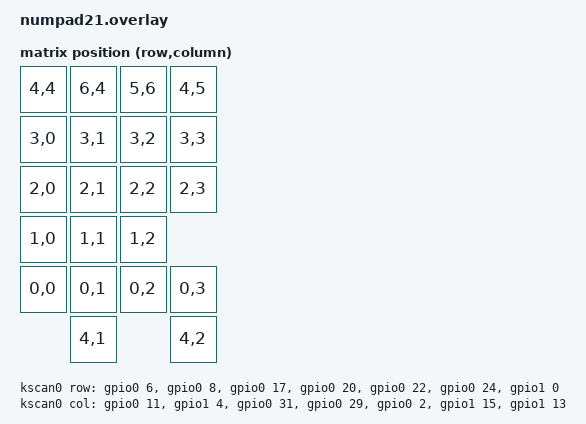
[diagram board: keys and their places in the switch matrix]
/*
 * Numpad 21 phim - K21C - Pro Micro nRF52840 (nice!nano v2 compatible)
 * Ma tran 7x7, KHONG diode (ghosting khi bam nhieu phim).
 * Cot (C0-C6) la output, hang (R0-R6) la input pull-down.
 * Co physical-layout de dung ZMK Studio (zmk.studio).
 * 6 day LED dieu khien bang behavior &led_mode (xem src/led_mode.c).
 */

#include <dt-bindings/gpio/gpio.h>
#include <dt-bindings/zmk/matrix_transform.h>
#include <physical_layouts.dtsi>

/ {
    chosen {
        zmk,kscan = &kscan0;
        zmk,physical-layout = &physical_layout0;
    };

    kscan0: kscan {
        compatible = "zmk,kscan-gpio-matrix";
        wakeup-source;
        diode-direction = "col2row";

        /* C0 .. C6 */
        col-gpios
            = <&gpio0 11 GPIO_ACTIVE_HIGH>   /* C0 P0.11 */
            , <&gpio1 4  GPIO_ACTIVE_HIGH>   /* C1 P1.04 */
            , <&gpio0 31 GPIO_ACTIVE_HIGH>   /* C2 P0.31 */
            , <&gpio0 29 GPIO_ACTIVE_HIGH>   /* C3 P0.29 */
            , <&gpio0 2  GPIO_ACTIVE_HIGH>   /* C4 P0.02 */
            , <&gpio1 15 GPIO_ACTIVE_HIGH>   /* C5 P1.15 */
            , <&gpio1 13 GPIO_ACTIVE_HIGH>   /* C6 P1.13 */
            ;

        /* R0 .. R6 */
        row-gpios
            = <&gpio0 6  (GPIO_ACTIVE_HIGH | GPIO_PULL_DOWN)>  /* R0 P0.06 */
            , <&gpio0 8  (GPIO_ACTIVE_HIGH | GPIO_PULL_DOWN)>  /* R1 P0.08 */
            , <&gpio0 17 (GPIO_ACTIVE_HIGH | GPIO_PULL_DOWN)>  /* R2 P0.17 */
            , <&gpio0 20 (GPIO_ACTIVE_HIGH | GPIO_PULL_DOWN)>  /* R3 P0.20 */
            , <&gpio0 22 (GPIO_ACTIVE_HIGH | GPIO_PULL_DOWN)>  /* R4 P0.22 */
            , <&gpio0 24 (GPIO_ACTIVE_HIGH | GPIO_PULL_DOWN)>  /* R5 P0.24 */
            , <&gpio1 0  (GPIO_ACTIVE_HIGH | GPIO_PULL_DOWN)>  /* R6 P1.00 */
            ;
    };

    /*
     * Thu tu phim theo bo cuc vat ly (tren xuong, trai sang phai):
     *   ESC  TAB  BSPC FN
     *   NUM  /    *    -
     *   7    8    9
     *   4    5    6    +
     *   1    2    3    ENTER
     *   0    .
     */
    default_transform: keymap_transform_0 {
        compatible = "zmk,matrix-transform";
        columns = <7>;
        rows = <7>;
        map = <
            RC(4,4) RC(6,4) RC(5,6) RC(4,5)
            RC(3,0) RC(3,1) RC(3,2) RC(3,3)
            RC(2,0) RC(2,1) RC(2,2)
            RC(1,0) RC(1,1) RC(1,2) RC(2,3)
            RC(0,0) RC(0,1) RC(0,2) RC(0,3)
            RC(4,1) RC(4,2)
        >;
    };

    /*
     * Physical layout cho ZMK Studio. Don vi: 1/100 phim.
     * Thu tu phai TRUNG KHOP voi map cua default_transform o tren.
     */
    physical_layout0: physical_layout_0 {
        compatible = "zmk,physical-layout";
        display-name = "Numpad21";
        transform = <&default_transform>;
        kscan = <&kscan0>;

        keys  //                     w    h    x    y    rot  rx   ry
            = <&key_physical_attrs 100 100    0    0      0   0    0>  /* ESC   */
            , <&key_physical_attrs 100 100  100    0      0   0    0>  /* TAB   */
            , <&key_physical_attrs 100 100  200    0      0   0    0>  /* BSPC  */
            , <&key_physical_attrs 100 100  300    0      0   0    0>  /* FN    */

            , <&key_physical_attrs 100 100    0  100      0   0    0>  /* NUM   */
            , <&key_physical_attrs 100 100  100  100      0   0    0>  /* /     */
            , <&key_physical_attrs 100 100  200  100      0   0    0>  /* *     */
            , <&key_physical_attrs 100 100  300  100      0   0    0>  /* -     */

            , <&key_physical_attrs 100 100    0  200      0   0    0>  /* 7     */
            , <&key_physical_attrs 100 100  100  200      0   0    0>  /* 8     */
            , <&key_physical_attrs 100 100  200  200      0   0    0>  /* 9     */

            , <&key_physical_attrs 100 100    0  300      0   0    0>  /* 4     */
            , <&key_physical_attrs 100 100  100  300      0   0    0>  /* 5     */
            , <&key_physical_attrs 100 100  200  300      0   0    0>  /* 6     */
            , <&key_physical_attrs 100 100  300  200      0   0    0>  /* +     */

            , <&key_physical_attrs 100 100    0  400      0   0    0>  /* 1     */
            , <&key_physical_attrs 100 100  100  400      0   0    0>  /* 2     */
            , <&key_physical_attrs 100 100  200  400      0   0    0>  /* 3     */
            , <&key_physical_attrs 100 100  300  400      0   0    0>  /* ENTER */

            , <&key_physical_attrs 100 100  100  500      0   0    0>  /* 0     */
            , <&key_physical_attrs 100 100  300  500      0   0    0>  /* .     */
            ;
    };

    behaviors {
        /*
         * 6 day LED qua 6 transistor PNP (S8550), base active-low (LOW = sang).
         * Thu tu: LED0..LED5 = P0.09 P0.10 P1.01 P1.02 P1.07 P1.11
         * Dung: &led_mode 1..9
         */
        led_mode: led_mode {
            compatible = "zmk,behavior-led-mode";
            #binding-cells = <1>;
            leds-gpios
                = <&gpio0 9  GPIO_ACTIVE_LOW>
                , <&gpio0 10 GPIO_ACTIVE_LOW>
                , <&gpio1 1  GPIO_ACTIVE_LOW>
                , <&gpio1 2  GPIO_ACTIVE_LOW>
                , <&gpio1 7  GPIO_ACTIVE_LOW>
                , <&gpio1 11 GPIO_ACTIVE_LOW>
                ;
        };

        /* &layer_cycle : Numpad -> Media -> L3 -> L4 -> L5 -> Numpad ... (bo qua layer FN) */
        layer_cycle: layer_cycle {
            compatible = "zmk,behavior-layer-cycle";
            #binding-cells = <0>;
            cycle-layers = [00 01 02 03 04];
        };
    };
};
